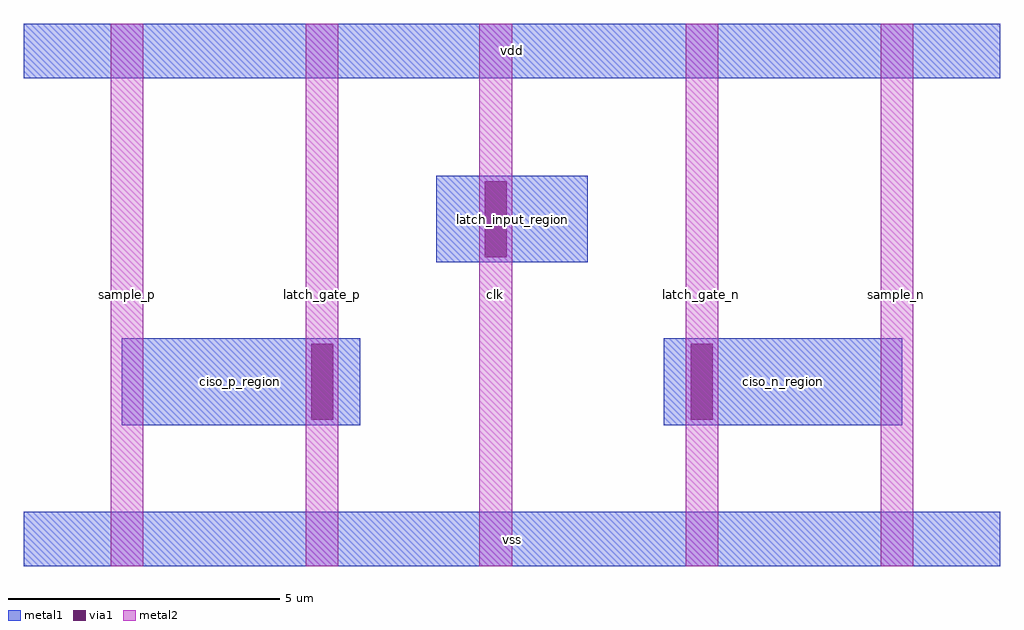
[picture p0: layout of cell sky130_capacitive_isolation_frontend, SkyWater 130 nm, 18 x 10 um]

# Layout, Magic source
magic
tech sky130A
<< metal1 >>
rect 0 0 1800 100
rect 0 900 1800 1000
rect 180 260 620 420
rect 1180 260 1620 420
rect 760 560 1040 720
<< metal2 >>
rect 160 0 220 1000
rect 520 0 580 1000
rect 840 0 900 1000
rect 1220 0 1280 1000
rect 1580 0 1640 1000
<< via1 >>
rect 530 270 570 410
rect 850 570 890 710
rect 1230 270 1270 410
<< labels >>
rlabel metal1 0 0 1800 100 0 vss
port 1 nsew
rlabel metal1 0 900 1800 1000 0 vdd
port 2 nsew
rlabel metal2 160 0 220 1000 0 sample_p
port 3 nsew
rlabel metal2 520 0 580 1000 0 latch_gate_p
port 4 nsew
rlabel metal2 840 0 900 1000 0 clk
port 5 nsew
rlabel metal2 1220 0 1280 1000 0 latch_gate_n
port 6 nsew
rlabel metal2 1580 0 1640 1000 0 sample_n
port 7 nsew
rlabel metal1 180 260 620 420 0 ciso_p_region
rlabel metal1 1180 260 1620 420 0 ciso_n_region
rlabel metal1 760 560 1040 720 0 latch_input_region
<< end >>
